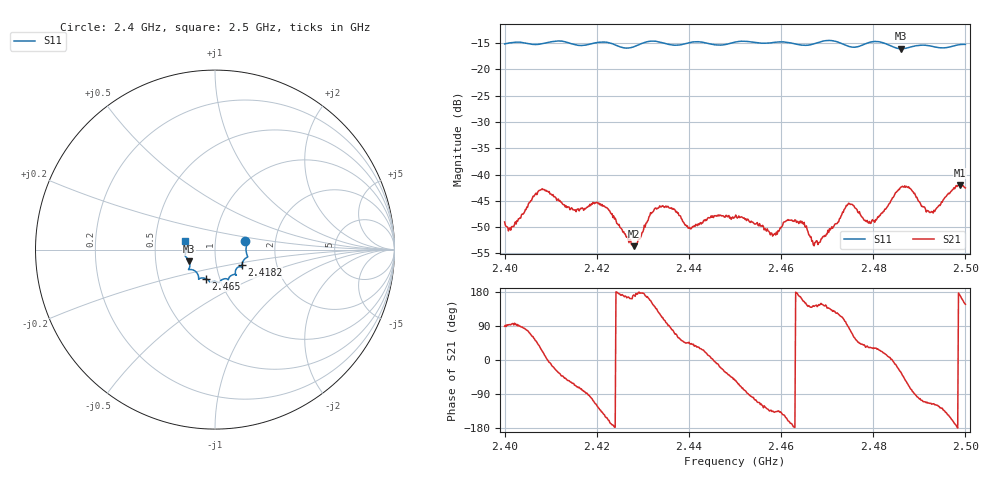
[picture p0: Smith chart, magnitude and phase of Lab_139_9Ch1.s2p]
# Hz S RI R 50
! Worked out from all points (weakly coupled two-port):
!   601 points, 2.4 GHz to 2.5 GHz, reference 50 ohm
!   highest |S21| = -42.01 dB at 2.4988 GHz (marker M1); lowest = -53.6 dB at 2.428 GHz (marker M2)
!   lowest |S11| = -16.1 dB at 2.486 GHz (marker M3), VSWR 1.37, Z = 37.2 - j4.95 ohm
!   |S11| at or under -10 dB: start of sweep to end of sweep
!   S12 and S22 are empty: the file has one direction only
!   S11 on the Smith chart (normalised r, x): 2.4 GHz: 1.40, +0.14; 2.4182 GHz: 1.33, -0.23; 2.465 GHz: 0.86, -0.29; 2.5 GHz: 0.71, +0.07
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2.4e9  0.1685 0.0469  6.87e-05 0.00354  0 0  0 0
2.401667e9  0.1765 0.0389  -0.00031 0.00319  0 0  0 0
2.408e9  0.1746 -0.0157  0.00642 0.00325  0 0  0 0
2.416667e9  0.1546 -0.0684  0.00114 -0.00461  0 0  0 0
2.418167e9  0.1501 -0.0854  -0.000218 -0.00498  0 0  0 0
2.422167e9  0.1523 -0.0989  -0.00428 -0.00229  0 0  0 0
2.428e9  0.1138 -0.1184  -0.00206 0.000307  0 0  0 0
2.433333e9  0.1176 -0.141  -0.00286 0.00384  0 0  0 0
2.440167e9  0.0757 -0.1639  0.00231 0.00213  0 0  0 0
2.45e9  0.0263 -0.1802  0.00232 -0.0032  0 0  0 0
2.458167e9  -0.0183 -0.1794  -0.00184 -0.00183  0 0  0 0
2.461333e9  -0.0301 -0.1787  -0.00336 -0.00145  0 0  0 0
2.465e9  -0.0523 -0.1616  -0.00317 0.0015  0 0  0 0
2.466667e9  -0.0712 -0.1577  -0.00175 0.00152  0 0  0 0
2.4685e9  -0.0868 -0.1615  -0.00191 0.00124  0 0  0 0
2.474667e9  -0.0982 -0.1337  0.000335 0.00532  0 0  0 0
2.479e9  -0.1419 -0.1109  0.0029 0.00187  0 0  0 0
2.483333e9  -0.1413 -0.0968  0.00513 0.00076  0 0  0 0
2.486e9  -0.1432 -0.0649  0.0064 -0.00404  0 0  0 0
2.4925e9  -0.1651 -0.0247  -0.00179 -0.00401  0 0  0 0
2.498833e9  -0.1676 0.0407  -0.00783 0.00133  0 0  0 0
2.5e9  -0.1668 0.047  -0.00626 0.00405  0 0  0 0
